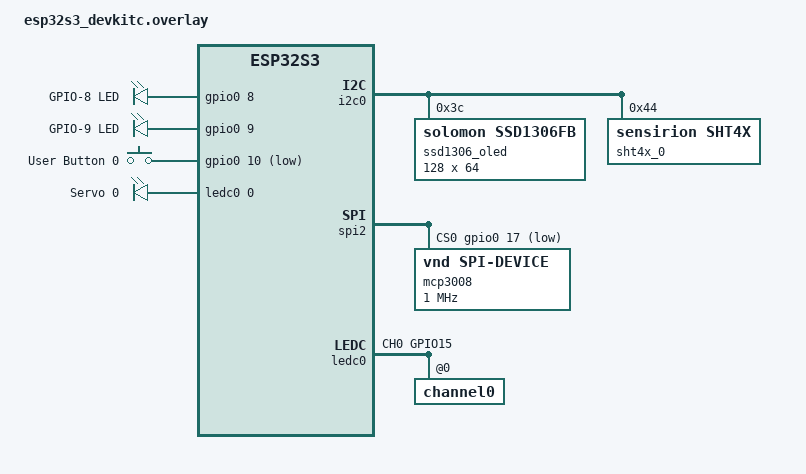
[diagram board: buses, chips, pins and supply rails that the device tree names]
/*
 * Hardware diagnostics overlay:
 * - SSD1306 OLED on I2C0 (0x3C)
 * - SHT4x sensor on I2C0 (0x44)
 * - LEDs on GPIO8/GPIO9
 * - Button on GPIO10 (pull-up, active-low)
 * - SG90 PWM on GPIO15 (LEDC channel 0)
 * - MCP3008 on SPI2 (GPIO12/11/13 for SCLK/MOSI/MISO, GPIO17 for CS)
 */
/ {
	aliases {
		led0 = &onboard_led;
		led1 = &second_led;
		sw0 = &user_button0;
		servo0 = &servo0;
	};

	chosen {
		zephyr,display = &ssd1306_oled;
	};
};

&gpio0 {
	status = "okay";
};

&i2c0 {
	status = "okay";

	ssd1306_oled: ssd1306@3c {
		compatible = "solomon,ssd1306fb";
		reg = <0x3c>;
		width = <128>;
		height = <64>;
		segment-offset = <0>;
		page-offset = <0>;
		display-offset = <0>;
		multiplex-ratio = <63>;
		segment-remap;
		com-invdir;
		prechargep = <0x22>;
	};

	sht4x_0: sht4x@44 {
		compatible = "sensirion,sht4x";
		reg = <0x44>;
		repeatability = <2>;
	};
};

&spi2 {
	status = "okay";
	cs-gpios = <&gpio0 17 GPIO_ACTIVE_LOW>;

	mcp3008: mcp3008@0 {
		compatible = "vnd,spi-device";
		reg = <0>;
		spi-max-frequency = <1000000>;
	};
};

/* PWM output on GPIO15 using LEDC channel 0. */
&pinctrl {
	ledc0_ch0: ledc0_ch0 {
		group1 {
			pinmux = <LEDC_CH0_GPIO15>;
			output-enable;
		};
	};
};

&ledc0 {
	status = "okay";
	pinctrl-0 = <&ledc0_ch0>;
	pinctrl-names = "default";
	#address-cells = <1>;
	#size-cells = <0>;

	channel0: channel0@0 {
		reg = <0>;
		timer = <0>;
	};
};

/ {
	leds {
		compatible = "gpio-leds";

		onboard_led: led_0 {
			gpios = <&gpio0 8 GPIO_ACTIVE_HIGH>;
			label = "GPIO-8 LED";
		};

		second_led: led_1 {
			gpios = <&gpio0 9 GPIO_ACTIVE_HIGH>;
			label = "GPIO-9 LED";
		};
	};

	buttons {
		compatible = "gpio-keys";
		user_button0: button_0 {
			gpios = <&gpio0 10 (GPIO_PULL_UP | GPIO_ACTIVE_LOW)>;
			label = "User Button 0";
		};
	};

	pwm_outputs {
		compatible = "pwm-leds";
		servo0: servo_0 {
			/* period = 20_000_000 ns (50 Hz), flags = 0 */
			pwms = <&ledc0 0 20000000 0>;
			label = "Servo 0";
		};
	};
};
